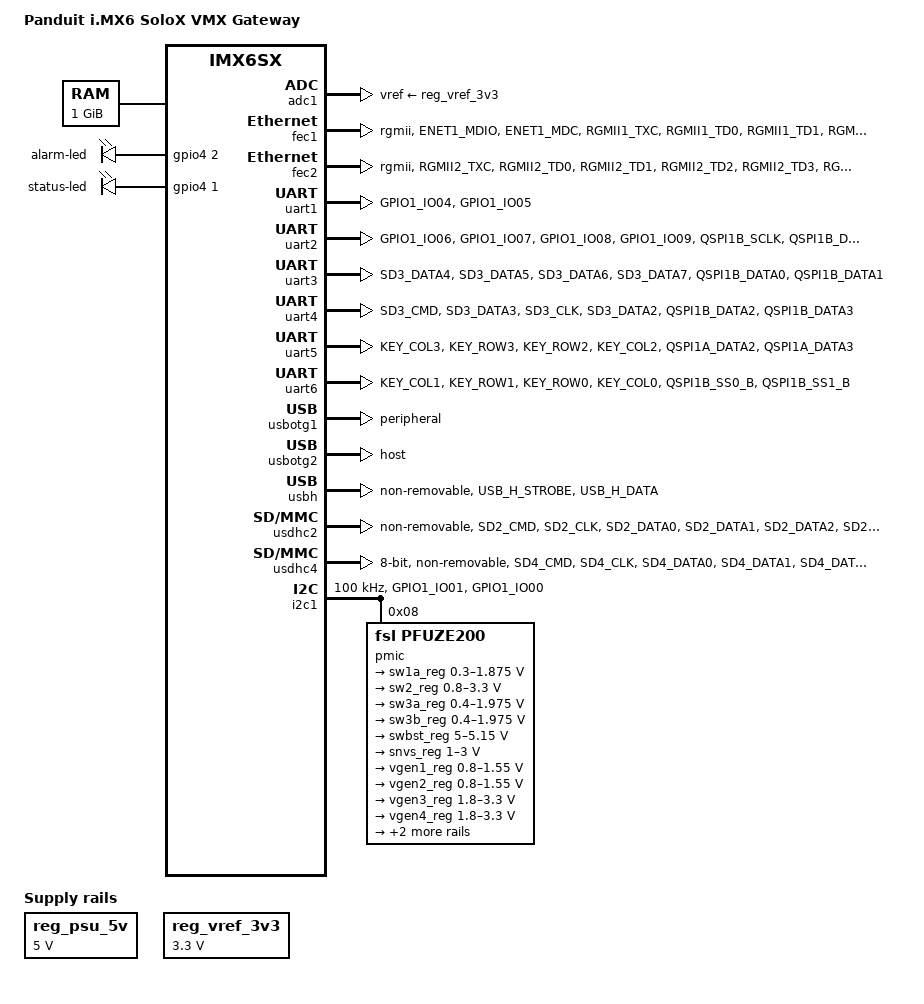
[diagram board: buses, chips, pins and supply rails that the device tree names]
/*
 * Copyright (C) 2016-2017 Panduit Inc.
 *
 * This program is free software; you can redistribute it and/or modify
 * it under the terms of the GNU General Public License version 2 as
 * published by the Free Software Foundation.
 */

/dts-v1/;

#include <dt-bindings/input/input.h>
#include "imx6sx.dtsi"

/ {
	model = "Panduit i.MX6 SoloX VMX Gateway";
	compatible = "fsl,imx6sx-sdb", "fsl,imx6sx";

	chosen {
		stdout-path = &uart1;
	};

	memory {
		reg = <0x80000000 0x40000000>;
	};

	caam_keyblob: caam-keyblob {
		compatible = "fsl,sec-v4.0-keyblob";
		status = "okay";
	};

	regulators {
		compatible = "simple-bus";
		#address-cells = <1>;
		#size-cells = <0>;


		reg_psu_5v: regulator@1 {
			compatible = "regulator-fixed";
			reg = <1>;
			regulator-name = "PSU-5V0";
			regulator-min-microvolt = <5000000>;
			regulator-max-microvolt = <5000000>;
			regulator-boot-on;
		};

		reg_vref_3v3: regulator@2 {
			compatible = "regulator-fixed";
			regulator-name = "vref-3v3";
			regulator-min-microvolt = <3300000>;
			regulator-max-microvolt = <3300000>;
		};
	};

        leds {
		compatible = "gpio-leds";

		alarm-led {
			gpios = <&gpio4 2 GPIO_ACTIVE_HIGH>;
			default-state = "off";
		};

                status-led {
			gpios = <&gpio4 1 GPIO_ACTIVE_HIGH>;
                        linux,default-trigger = "timer";
			default-state = "on";
		};
	};
};

&adc1 {
	vref-supply = <&reg_vref_3v3>;
	status = "okay";
};

&cpu0 {
	operating-points = <
		/* kHz    uV */
		996000  1275000
		792000  1175000
		396000  1175000
		198000	1175000
		>;
	fsl,soc-operating-points = <
		/* ARM kHz      SOC uV */
		996000	1275000
		792000	1175000
		396000	1175000
		198000	1175000
	>;
	arm-supply = <&sw1a_reg>;
	soc-supply = <&sw1a_reg>;
	fsl,arm-soc-shared = <1>;
};

&gpc {
	/* use ldo-bypass, u-boot will check it and configure */
	fsl,ldo-bypass = <1>;
};

&fec1 {
	pinctrl-names = "default";
	pinctrl-0 = <&pinctrl_enet1>;
	phy-mode = "rgmii";
	status = "okay";
};

&fec2 {
	pinctrl-names = "default";
	pinctrl-0 = <&pinctrl_enet2>;
	phy-mode = "rgmii";
	status = "okay";
};

&uart1 { /* ttymxc0 */
	pinctrl-names = "default";
	pinctrl-0 = <&pinctrl_uart1>;
	status = "okay";
};

&uart2 { /* for RS-485 ttymxc1 & ttymxc2 */
	pinctrl-names = "default";
	pinctrl-0 = <&pinctrl_uart2>;
        panduit,vmx-rs485-mode;
        panduit,port0-de-gpio = <&gpio1 8 GPIO_ACTIVE_HIGH>;
        panduit,port0-re-gpio = <&gpio1 9 GPIO_ACTIVE_LOW>;
        panduit,port1-de-gpio = <&gpio4 28 GPIO_ACTIVE_HIGH>;
        panduit,port1-re-gpio = <&gpio4 29 GPIO_ACTIVE_LOW>;
	status = "okay";
};

&uart3 { /* for RS-485 ttymxc3 & ttymxc4 */
	pinctrl-names = "default";
	pinctrl-0 = <&pinctrl_uart3>;
        panduit,vmx-rs485-mode;
        panduit,port0-de-gpio = <&gpio7 9 GPIO_ACTIVE_HIGH>;
        panduit,port0-re-gpio = <&gpio7 8 GPIO_ACTIVE_LOW>;
        panduit,port1-de-gpio = <&gpio4 25 GPIO_ACTIVE_HIGH>;
        panduit,port1-re-gpio = <&gpio4 24 GPIO_ACTIVE_LOW>;
	status = "okay";
};

&uart4 { /* for RS-485 ttymxc5 & ttymxc6 */
	pinctrl-names = "default";
	pinctrl-0 = <&pinctrl_uart4>;
        panduit,vmx-rs485-mode;
        panduit,port0-de-gpio = <&gpio7 0 GPIO_ACTIVE_HIGH>;
        panduit,port0-re-gpio = <&gpio7 4 GPIO_ACTIVE_LOW>;
        panduit,port1-de-gpio = <&gpio4 27 GPIO_ACTIVE_HIGH>;
        panduit,port1-re-gpio = <&gpio4 26 GPIO_ACTIVE_LOW>;
	status = "okay";
};

&uart5 { /* for RS-485 ttymxc7 & ttymxc8 */
	pinctrl-names = "default";
	pinctrl-0 = <&pinctrl_uart5>;
        panduit,vmx-rs485-mode;
        panduit,port0-de-gpio = <&gpio2 17 GPIO_ACTIVE_HIGH>;
        panduit,port0-re-gpio = <&gpio2 12 GPIO_ACTIVE_LOW>;
        panduit,port1-de-gpio = <&gpio4 19 GPIO_ACTIVE_HIGH>;
        panduit,port1-re-gpio = <&gpio4 18 GPIO_ACTIVE_LOW>;
	status = "okay";
};

&uart6 { /* for RS-485 ttymxc9 & ttymxc10 */
	pinctrl-names = "default";
	pinctrl-0 = <&pinctrl_uart6>;
        panduit,vmx-rs485-mode;
        panduit,port0-de-gpio = <&gpio2 15 GPIO_ACTIVE_HIGH>;
        panduit,port0-re-gpio = <&gpio2 10 GPIO_ACTIVE_LOW>;
        panduit,port1-de-gpio = <&gpio4 31 GPIO_ACTIVE_HIGH>;
        panduit,port1-re-gpio = <&gpio4 30 GPIO_ACTIVE_LOW>;
	status = "okay";
};

&usbphy1 {
	tx-d-cal = <0x5>;
};

&usbphy2 {
	tx-d-cal = <0x5>;
};

&usbotg1 { /* USB Badge */
	dr_mode = "peripheral";
	status = "okay";
};

&usbotg2 { /* WSN */
	dr_mode = "host";
	status = "okay";
};

&usbh {
	pinctrl-names = "idle", "active";
	pinctrl-0 = <&pinctrl_usbh_1>;
	pinctrl-1 = <&pinctrl_usbh_2>;
	osc-clkgate-delay = <0x3>;
        non-removable;
	status = "okay";
};

&usdhc2 {
	pinctrl-names = "default";
	pinctrl-0 = <&pinctrl_usdhc2>;
	non-removable;
	no-1-8-v;
	keep-power-in-suspend;
	enable-sdio-wakeup;
	status = "okay";
};

&usdhc4 {
	pinctrl-names = "default";
	pinctrl-0 = <&pinctrl_usdhc4>;
	bus-width = <8>;
	/*
	 * overwrite cd-gpios and wp-gpios since they are reused as eMMC DATA
	 * signals after rework
	 */
	cd-gpios = <>;
	wp-gpios = <>;
	non-removable;
	status = "okay";
};



&i2c1 {
	clock-frequency = <100000>;
	pinctrl-names = "default";
	pinctrl-0 = <&pinctrl_i2c1>;
	status = "okay";

	pmic: pfuze100@08 {
		compatible = "fsl,pfuze200";
		reg = <0x08>;

		regulators {
			sw1a_reg: sw1ab {
				regulator-min-microvolt = <300000>;
				regulator-max-microvolt = <1875000>;
				regulator-boot-on;
				regulator-always-on;
				regulator-ramp-delay = <6250>;
			};

			sw2_reg: sw2 {
				regulator-min-microvolt = <800000>;
				regulator-max-microvolt = <3300000>;
				regulator-boot-on;
				regulator-always-on;
			};

			sw3a_reg: sw3a {
				regulator-min-microvolt = <400000>;
				regulator-max-microvolt = <1975000>;
				regulator-boot-on;
				regulator-always-on;
			};

			sw3b_reg: sw3b {
				regulator-min-microvolt = <400000>;
				regulator-max-microvolt = <1975000>;
				regulator-boot-on;
				regulator-always-on;
			};

			swbst_reg: swbst {
				regulator-min-microvolt = <5000000>;
				regulator-max-microvolt = <5150000>;
			};

			snvs_reg: vsnvs {
				regulator-min-microvolt = <1000000>;
				regulator-max-microvolt = <3000000>;
				regulator-boot-on;
				regulator-always-on;
			};

			vref_reg: vrefddr {
				regulator-boot-on;
				regulator-always-on;
			};

			vgen1_reg: vgen1 {
				regulator-min-microvolt = <800000>;
				regulator-max-microvolt = <1550000>;
				regulator-always-on;
			};

			vgen2_reg: vgen2 {
				regulator-min-microvolt = <800000>;
				regulator-max-microvolt = <1550000>;
			};

			vgen3_reg: vgen3 {
				regulator-min-microvolt = <1800000>;
				regulator-max-microvolt = <3300000>;
				regulator-always-on;
			};

			vgen4_reg: vgen4 {
				regulator-min-microvolt = <1800000>;
				regulator-max-microvolt = <3300000>;
				regulator-always-on;
			};

			vgen5_reg: vgen5 {
				regulator-min-microvolt = <1800000>;
				regulator-max-microvolt = <3300000>;
				regulator-always-on;
			};

			vgen6_reg: vgen6 {
				regulator-min-microvolt = <1800000>;
				regulator-max-microvolt = <3300000>;
				regulator-always-on;
			};
		};
	};
};

/*
&i2c2 {
	clock-frequency = <100000>;
	pinctrl-names = "default";
	pinctrl-0 = <&pinctrl_i2c2>;
	status = "okay";

          usbhub: usb84602@2d {
                  compatible = "smsc,usb84602";
                  reg = <0x2d>;
                  reset-gpios = <&gpio3 22 1>;
                  initial-mode = <1>;
          };
};
*/

&iomuxc {
	pinctrl-names = "default";
	pinctrl-0 = <&pinctrl_hog>;

	imx6x-sdb {
		pinctrl_hog: hoggrp {
			fsl,pins = <
				MX6SX_PAD_SD1_DATA0__GPIO6_IO_2 0x17059
				MX6SX_PAD_SD1_DATA3__GPIO6_IO_5 0xb000
				MX6SX_PAD_CSI_DATA03__GPIO1_IO_17 0x17059
				MX6SX_PAD_GPIO1_IO13__WDOG1_WDOG_ANY 0x30b0
				MX6SX_PAD_QSPI1A_SCLK__GPIO4_IO_21  0x17059
			>;
		};

		pinctrl_enet1: enet1grp {
			fsl,pins = <
				MX6SX_PAD_ENET1_MDIO__ENET1_MDIO	0xa0b1
				MX6SX_PAD_ENET1_MDC__ENET1_MDC		0xa0b1
				MX6SX_PAD_RGMII1_TXC__ENET1_RGMII_TXC	0xa0b9
				MX6SX_PAD_RGMII1_TD0__ENET1_TX_DATA_0	0xa0b1
				MX6SX_PAD_RGMII1_TD1__ENET1_TX_DATA_1	0xa0b1
				MX6SX_PAD_RGMII1_TD2__ENET1_TX_DATA_2	0xa0b1
				MX6SX_PAD_RGMII1_TD3__ENET1_TX_DATA_3	0xa0b1
				MX6SX_PAD_RGMII1_TX_CTL__ENET1_TX_EN	0xa0b1
				MX6SX_PAD_RGMII1_RXC__ENET1_RX_CLK	0x3081
				MX6SX_PAD_RGMII1_RD0__ENET1_RX_DATA_0	0x3081
				MX6SX_PAD_RGMII1_RD1__ENET1_RX_DATA_1	0x3081
				MX6SX_PAD_RGMII1_RD2__ENET1_RX_DATA_2	0x3081
				MX6SX_PAD_RGMII1_RD3__ENET1_RX_DATA_3	0x3081
				MX6SX_PAD_RGMII1_RX_CTL__ENET1_RX_EN	0x3081
				MX6SX_PAD_ENET2_RX_CLK__ENET2_REF_CLK_25M	0x91
			>;
		};

		pinctrl_enet2: enet2grp {
			fsl,pins = <
				MX6SX_PAD_RGMII2_TXC__ENET2_RGMII_TXC	0xa0b9
				MX6SX_PAD_RGMII2_TD0__ENET2_TX_DATA_0	0xa0b1
				MX6SX_PAD_RGMII2_TD1__ENET2_TX_DATA_1	0xa0b1
				MX6SX_PAD_RGMII2_TD2__ENET2_TX_DATA_2	0xa0b1
				MX6SX_PAD_RGMII2_TD3__ENET2_TX_DATA_3	0xa0b1
				MX6SX_PAD_RGMII2_TX_CTL__ENET2_TX_EN	0xa0b1
				MX6SX_PAD_RGMII2_RXC__ENET2_RX_CLK	0x3081
				MX6SX_PAD_RGMII2_RD0__ENET2_RX_DATA_0	0x3081
				MX6SX_PAD_RGMII2_RD1__ENET2_RX_DATA_1	0x3081
				MX6SX_PAD_RGMII2_RD2__ENET2_RX_DATA_2	0x3081
				MX6SX_PAD_RGMII2_RD3__ENET2_RX_DATA_3	0x3081
				MX6SX_PAD_RGMII2_RX_CTL__ENET2_RX_EN	0x3081
			>;
		};

		pinctrl_i2c1: i2c1grp {
			fsl,pins = <
				MX6SX_PAD_GPIO1_IO01__I2C1_SDA 0x4001b8b1
				MX6SX_PAD_GPIO1_IO00__I2C1_SCL 0x4001b8b1
			>;
		};

		pinctrl_i2c2: i2c2grp {
			fsl,pins = <
				MX6SX_PAD_GPIO1_IO03__I2C2_SDA 0x4001b8b1
				MX6SX_PAD_GPIO1_IO02__I2C2_SCL 0x4001b8b1
			>;
		};

		pinctrl_uart1: uart1grp {
			fsl,pins = <
				MX6SX_PAD_GPIO1_IO04__UART1_TX		0x1b0b1
				MX6SX_PAD_GPIO1_IO05__UART1_RX		0x1b0b1
			>;
		};

                pinctrl_uart2: uart2grp {
		        fsl,pins = <
				MX6SX_PAD_GPIO1_IO06__UART2_TX		0x1b0b1
				MX6SX_PAD_GPIO1_IO07__UART2_RX		0x1b0b1
				MX6SX_PAD_GPIO1_IO08__GPIO1_IO_8	0x10b0
				MX6SX_PAD_GPIO1_IO09__GPIO1_IO_9	0x10b0
                                MX6SX_PAD_QSPI1B_SCLK__GPIO4_IO_29      0x10b0
                                MX6SX_PAD_QSPI1B_DQS__GPIO4_IO_28       0x10b0
			>;
		};

                pinctrl_uart3: uart3grp {
		        fsl,pins = <
				MX6SX_PAD_SD3_DATA4__UART3_RX		0x1b0b1
				MX6SX_PAD_SD3_DATA5__UART3_TX		0x1b0b1
				MX6SX_PAD_SD3_DATA6__GPIO7_IO_8		0x10b0
				MX6SX_PAD_SD3_DATA7__GPIO7_IO_9		0x10b0
                                MX6SX_PAD_QSPI1B_DATA0__GPIO4_IO_24     0x10b0
                                MX6SX_PAD_QSPI1B_DATA1__GPIO4_IO_25     0x10b0

			>;
		};

                pinctrl_uart4: uart4grp {
		        fsl,pins = <
				MX6SX_PAD_SD3_CMD__UART4_TX		0x1b0b1
				MX6SX_PAD_SD3_DATA3__UART4_RX		0x1b0b1
                                MX6SX_PAD_SD3_CLK__GPIO7_IO_0           0x10b0
                                MX6SX_PAD_SD3_DATA2__GPIO7_IO_4         0x10b0
                                MX6SX_PAD_QSPI1B_DATA2__GPIO4_IO_26     0x10b0
                                MX6SX_PAD_QSPI1B_DATA3__GPIO4_IO_27     0x10b0
			>;
		};

                pinctrl_uart5: uart5grp {
			fsl,pins = <
				MX6SX_PAD_KEY_COL3__UART5_TX		0x1b0b1
				MX6SX_PAD_KEY_ROW3__UART5_RX		0x1b0b1
				MX6SX_PAD_KEY_ROW2__GPIO2_IO_17	        0x10b0
				MX6SX_PAD_KEY_COL2__GPIO2_IO_12	        0x10b0
                                MX6SX_PAD_QSPI1A_DATA2__GPIO4_IO_18     0x10b0
                                MX6SX_PAD_QSPI1A_DATA3__GPIO4_IO_19     0x10b0
			>;
		};

                pinctrl_uart6: uart6grp {
			fsl,pins = <
				MX6SX_PAD_KEY_COL1__UART6_TX		0x1b0b1
				MX6SX_PAD_KEY_ROW1__UART6_RX		0x1b0b1
                                MX6SX_PAD_KEY_ROW0__GPIO2_IO_15         0x10b0
                                MX6SX_PAD_KEY_COL0__GPIO2_IO_10         0x10b0
                                MX6SX_PAD_QSPI1B_SS0_B__GPIO4_IO_30     0x10b0
                                MX6SX_PAD_QSPI1B_SS1_B__GPIO4_IO_31     0x10b0
			>;
		};

	        pinctrl_usbh_1: usbhgrp-1 {
                        fsl,pins = <
                                MX6SX_PAD_USB_H_STROBE__USB_H_STROBE	0x13030
                                MX6SX_PAD_USB_H_DATA__USB_H_DATA        0x13030
                        >;
	        };

	        pinctrl_usbh_2: usbhgrp-2 {
                fsl,pins = <
                                MX6SX_PAD_USB_H_STROBE__USB_H_STROBE	0x17030
                                MX6SX_PAD_USB_H_DATA__USB_H_DATA        0x13030
                         >;
	        };

		pinctrl_usdhc2: usdhc2grp {
			fsl,pins = <
				MX6SX_PAD_SD2_CMD__USDHC2_CMD		0x17059
				MX6SX_PAD_SD2_CLK__USDHC2_CLK		0x10059
				MX6SX_PAD_SD2_DATA0__USDHC2_DATA0	0x17059
				MX6SX_PAD_SD2_DATA1__USDHC2_DATA1	0x17059
				MX6SX_PAD_SD2_DATA2__USDHC2_DATA2	0x17059
				MX6SX_PAD_SD2_DATA3__USDHC2_DATA3	0x17059
			>;
		};

		pinctrl_usdhc4: usdhc4grp {
			fsl,pins = <
				MX6SX_PAD_SD4_CMD__USDHC4_CMD		0x17059
				MX6SX_PAD_SD4_CLK__USDHC4_CLK		0x10059
				MX6SX_PAD_SD4_DATA0__USDHC4_DATA0	0x17059
				MX6SX_PAD_SD4_DATA1__USDHC4_DATA1	0x17059
				MX6SX_PAD_SD4_DATA2__USDHC4_DATA2	0x17059
				MX6SX_PAD_SD4_DATA3__USDHC4_DATA3	0x17059
				MX6SX_PAD_SD4_DATA4__USDHC4_DATA4	0x17059
				MX6SX_PAD_SD4_DATA5__USDHC4_DATA5	0x17059
				MX6SX_PAD_SD4_DATA6__USDHC4_DATA6	0x17059
				MX6SX_PAD_SD4_DATA7__USDHC4_DATA7	0x17059
			>;
		};
	};
};

